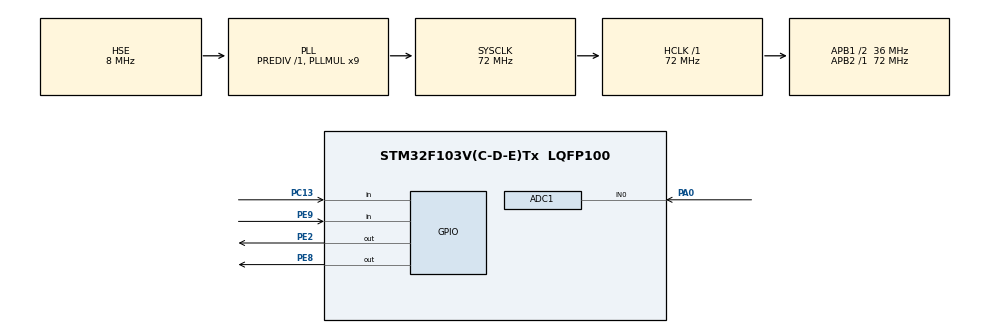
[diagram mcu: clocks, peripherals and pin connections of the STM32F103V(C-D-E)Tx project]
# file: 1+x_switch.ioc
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ADC1.Channel-0\#ChannelRegularConversion=ADC_CHANNEL_0
ADC1.NbrOfConversionFlag=1
ADC1.Rank-0\#ChannelRegularConversion=1
ADC1.SamplingTime-0\#ChannelRegularConversion=ADC_SAMPLETIME_1CYCLE_5
ADC1.master=1
Mcu.Family=STM32F1
Mcu.Name=STM32F103V(C-D-E)Tx
Mcu.Package=LQFP100
NVIC.ADC1_2_IRQn=true\:0\:0\:false\:false\:true\:true\:true
NVIC.PriorityGroup=NVIC_PRIORITYGROUP_4
NVIC.TIM1_BRK_IRQn=true\:0\:0\:false\:false\:true\:true\:true
NVIC.TIM1_CC_IRQn=true\:0\:0\:false\:false\:true\:true\:true
NVIC.TIM1_TRG_COM_IRQn=true\:0\:0\:false\:false\:true\:true\:true
NVIC.TIM1_UP_IRQn=true\:0\:0\:false\:false\:true\:true\:true
OSC_IN.Mode=HSE-External-Oscillator
OSC_IN.Signal=RCC_OSC_IN
OSC_OUT.Mode=HSE-External-Oscillator
OSC_OUT.Signal=RCC_OSC_OUT
PA0-WKUP.Signal=ADCx_IN0
PA13.Mode=Serial_Wire
PA13.Signal=SYS_JTMS-SWDIO
PA14.Mode=Serial_Wire
PA14.Signal=SYS_JTCK-SWCLK
PC13-TAMPER-RTC.GPIO_PuPd=GPIO_PULLUP
PC13-TAMPER-RTC.Signal=GPIO_Input
PC14-OSC32_IN.Mode=LSE-External-Oscillator
PC14-OSC32_IN.Signal=RCC_OSC32_IN
PC15-OSC32_OUT.Mode=LSE-External-Oscillator
PC15-OSC32_OUT.Signal=RCC_OSC32_OUT
PE2.Signal=GPIO_Output
PE8.Signal=GPIO_Output
PE9.GPIO_PuPd=GPIO_PULLUP
PE9.Signal=GPIO_Input
ProjectManager.HeapSize=0x200
ProjectManager.StackSize=0x400
ProjectManager.TargetToolchain=STM32CubeIDE
RCC.ADCPresc=RCC_ADCPCLK2_DIV6
RCC.AHBFreq_Value=72000000
RCC.APB1CLKDivider=RCC_HCLK_DIV2
RCC.APB1Freq_Value=36000000
RCC.APB1TimFreq_Value=72000000
RCC.APB2Freq_Value=72000000
RCC.APB2TimFreq_Value=72000000
RCC.HCLKFreq_Value=72000000
RCC.PLLMUL=RCC_PLL_MUL9
RCC.PLLSourceVirtual=RCC_PLLSOURCE_HSE
RCC.SYSCLKFreq_VALUE=72000000
RCC.SYSCLKSource=RCC_SYSCLKSOURCE_PLLCLK
RCC.USBFreq_Value=72000000
SH.ADCx_IN0.0=ADC1_IN0,IN0
TIM1.Period=99
TIM1.Prescaler=71
VP_TIM1_VS_ClockSourceINT.Mode=Internal
board=custom

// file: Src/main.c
/* USER CODE BEGIN Header */
/**
  ******************************************************************************
  * @file           : main.c
  * @brief          : Main program body
  ******************************************************************************
  * @attention
  *
  * <h2><center>&copy; Copyright (c) 2020 STMicroelectronics.
  * All rights reserved.</center></h2>
  *
  * This software component is licensed by ST under BSD 3-Clause license,
  * the "License"; You may not use this file except in compliance with the
  * License. You may obtain a copy of the License at:
  *                        opensource.org/licenses/BSD-3-Clause
  *
  ******************************************************************************
  */
/* USER CODE END Header */

#include "main.h"
#include "adc.h"
#include "tim.h"
#include "gpio.h"

/* USER CODE BEGIN PTD */
typedef enum {
    count_up = 0x01,
    count_down,
} pwm_mode_enum_TypedDef;

pwm_mode_enum_TypedDef pwm_mode = count_up;
uint8_t keydown_flag = 0;
uint8_t pwm_enable = 0;
static uint16_t pwm_value = 0;
/* USER CODE END PTD */

void SystemClock_Config(void);

/* USER CODE BEGIN 0 */
#define KEY1 HAL_GPIO_ReadPin(GPIOC,GPIO_PIN_13)
#define input1 HAL_GPIO_ReadPin(GPIOE,GPIO_PIN_9)

#define KEY2 HAL_GPIO_ReadPin(GPIOD,GPIO_PIN_13)

void sca_key() {
    if (KEY1 == 0) {
        HAL_Delay(100);
        if (KEY1 == 0) {
            HAL_GPIO_TogglePin(GPIOE, GPIO_PIN_2|GPIO_PIN_8);
//            HAL_GPIO_TogglePin(GPIOE, GPIO_PIN_8);
            HAL_Delay(500);
            while (KEY1 == GPIO_PIN_RESET);
        }
    }
}
void sca_input(){
    if (input1==1){
        HAL_GPIO_WritePin(GPIOE,GPIO_PIN_2|GPIO_PIN_8,GPIO_PIN_RESET);
    } else {
        HAL_GPIO_WritePin(GPIOE,GPIO_PIN_2|GPIO_PIN_8,GPIO_PIN_SET);
    }
}
/* USER CODE END 0 */

int main(void)
{

  /* MCU Configuration--------------------------------------------------------*/

  /* Reset of all peripherals, Initializes the Flash interface and the Systick. */
  HAL_Init();

  /* Configure the system clock */
  SystemClock_Config();

  /* Initialize all configured peripherals */
  MX_GPIO_Init();
  MX_TIM1_Init();
  MX_ADC1_Init();
  /* USER CODE BEGIN 2 */
    //启动定时器TIM4 PWM CH3通道
    HAL_TIM_PWM_Start(&htim1, TIM_CHANNEL_3);
  /* USER CODE END 2 */

  /* Infinite loop */
  /* USER CODE BEGIN WHILE */
  while (1)
  {
      sca_input();
//      sca_key();

    /* USER CODE END WHILE */

}

void SystemClock_Config(void)
{
  RCC_OscInitTypeDef RCC_OscInitStruct = {0};
  RCC_ClkInitTypeDef RCC_ClkInitStruct = {0};
  RCC_PeriphCLKInitTypeDef PeriphClkInit = {0};

  /** Initializes the CPU, AHB and APB busses clocks
  */
  RCC_OscInitStruct.OscillatorType = RCC_OSCILLATORTYPE_HSE;
  RCC_OscInitStruct.HSEState = RCC_HSE_ON;
  RCC_OscInitStruct.HSEPredivValue = RCC_HSE_PREDIV_DIV1;
  RCC_OscInitStruct.HSIState = RCC_HSI_ON;
  RCC_OscInitStruct.PLL.PLLState = RCC_PLL_ON;
  RCC_OscInitStruct.PLL.PLLSource = RCC_PLLSOURCE_HSE;
  RCC_OscInitStruct.PLL.PLLMUL = RCC_PLL_MUL9;
  if (HAL_RCC_OscConfig(&RCC_OscInitStruct) != HAL_OK)
  {
    Error_Handler();
  }
  /** Initializes the CPU, AHB and APB busses clocks
  */
  RCC_ClkInitStruct.ClockType = RCC_CLOCKTYPE_HCLK|RCC_CLOCKTYPE_SYSCLK
                              |RCC_CLOCKTYPE_PCLK1|RCC_CLOCKTYPE_PCLK2;
  RCC_ClkInitStruct.SYSCLKSource = RCC_SYSCLKSOURCE_PLLCLK;
  RCC_ClkInitStruct.AHBCLKDivider = RCC_SYSCLK_DIV1;
  RCC_ClkInitStruct.APB1CLKDivider = RCC_HCLK_DIV2;
  RCC_ClkInitStruct.APB2CLKDivider = RCC_HCLK_DIV1;

  if (HAL_RCC_ClockConfig(&RCC_ClkInitStruct, FLASH_LATENCY_2) != HAL_OK)
  {
    Error_Handler();
  }
  PeriphClkInit.PeriphClockSelection = RCC_PERIPHCLK_ADC;
  PeriphClkInit.AdcClockSelection = RCC_ADCPCLK2_DIV6;
  if (HAL_RCCEx_PeriphCLKConfig(&PeriphClkInit) != HAL_OK)
  {
    Error_Handler();
  }
}

void Error_Handler(void)
{
}

/************************ (C) COPYRIGHT STMicroelectronics *****END OF FILE****/
